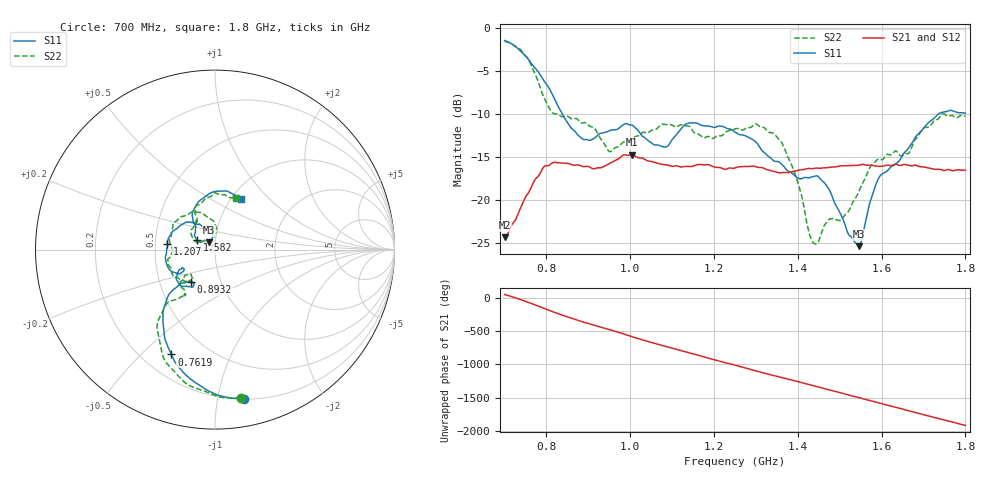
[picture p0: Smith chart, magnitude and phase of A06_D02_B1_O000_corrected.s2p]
! Created with skrf 1.9.0 (http://scikit-rf.org).
# Hz S RI R 50.0
!freq ReS11 ImS11 ReS21 ImS21 ReS12 ImS12 ReS22 ImS22
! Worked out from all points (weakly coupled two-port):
!   1601 points, 700 MHz to 1.8 GHz, reference 50 ohm
!   highest |S21| = -14.71 dB at 1.003 GHz (marker M1); lowest = -24.4 dB at 700.7 MHz (marker M2)
!   lowest |S11| = -25.4 dB at 1.546 GHz (marker M3), VSWR 1.11, Z = 46.5 + j3.86 ohm
!   |S11| at or under -10 dB: 838 MHz to 1.735 GHz (897.2 MHz wide, 69.7 % of centre)
!   |S22| runs from -25.1 to -1.5 dB; largest |S21 - S12| = 0.0035
!   S11 on the Smith chart (normalised r, x): 700 MHz: 0.20, -1.19; 761.9 MHz: 0.32, -0.62; 893.2 MHz: 0.72, -0.28; 1.207 GHz: 0.58, +0.04; 1.582 GHz: 0.81, +0.09; 1.8 GHz: 1.11, +0.70
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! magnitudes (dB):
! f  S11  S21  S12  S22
! 700 MHz  -1.4  -24.3  -24.1  -1.5
! 700.7 MHz  -1.4  -24.4  -24.1  -1.5
! 761.9 MHz  -4.0  -18.7  -18.6  -4.2
! 812.1 MHz  -7.5  -15.7  -15.7  -9.7
! 883.6 MHz  -12.8  -16.1  -15.9  -11.0
! 893.2 MHz  -13.0  -16.1  -16.2  -11.0
! 950.9 MHz  -11.9  -15.7  -15.8  -14.4
! 1.003 GHz  -11.3  -14.7  -14.8  -13.0
! 1.067 GHz  -13.6  -15.8  -15.7  -11.5
! 1.137 GHz  -11.1  -16.1  -16.1  -11.4
! 1.207 GHz  -11.5  -16.2  -16.3  -12.5
! 1.25 GHz  -12.1  -16.3  -16.2  -11.7
! 1.36 GHz  -15.8  -16.8  -16.8  -13.2
! 1.4 GHz  -17.4  -16.6  -16.6  -18.0
! 1.434 GHz  -17.3  -16.4  -16.3  -24.8
! 1.469 GHz  -18.4  -16.2  -16.2  -22.6
! 1.546 GHz  -25.4  -15.9  -15.9  -18.9
! 1.582 GHz  -18.8  -16.0  -16.0  -15.7
! 1.617 GHz  -16.4  -16.0  -15.9  -14.7
! 1.664 GHz  -14.0  -16.0  -15.9  -14.6
! 1.735 GHz  -10.0  -16.4  -16.5  -10.6
! 1.8 GHz  -9.9  -16.5  -16.5  -10.2
